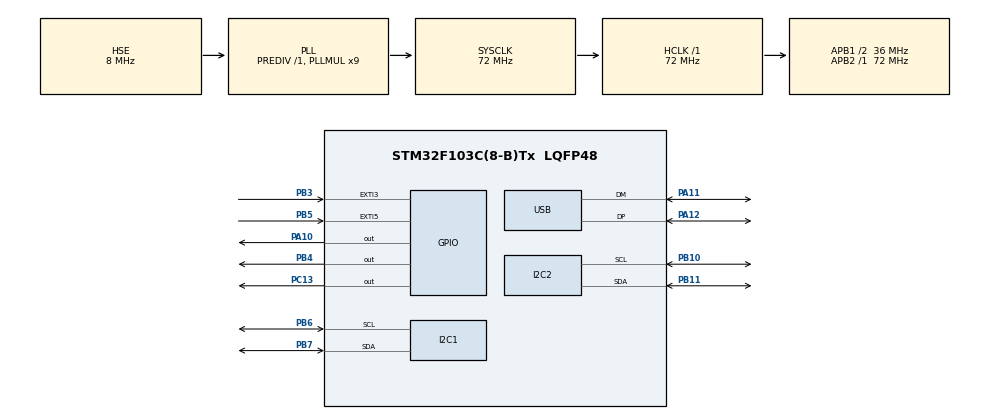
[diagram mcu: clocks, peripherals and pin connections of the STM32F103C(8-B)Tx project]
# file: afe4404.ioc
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I2C1.I2C_Mode=I2C_Fast
I2C2.I2C_Mode=I2C_Fast
Mcu.Family=STM32F1
Mcu.Name=STM32F103C(8-B)Tx
Mcu.Package=LQFP48
NVIC.EXTI3_IRQn=true\:0\:0\:false\:false\:true\:true\:true\:true
NVIC.EXTI9_5_IRQn=true\:0\:0\:false\:false\:true\:true\:true\:true
NVIC.I2C1_ER_IRQn=true\:0\:0\:false\:false\:true\:true\:true\:true
NVIC.I2C1_EV_IRQn=true\:0\:0\:false\:false\:true\:true\:true\:true
NVIC.I2C2_ER_IRQn=true\:0\:0\:false\:false\:true\:true\:true\:true
NVIC.I2C2_EV_IRQn=true\:0\:0\:false\:false\:true\:true\:true\:true
NVIC.PriorityGroup=NVIC_PRIORITYGROUP_4
NVIC.USB_LP_CAN1_RX0_IRQn=true\:0\:0\:false\:false\:true\:false\:true\:true
PA10.Signal=GPIO_Output
PA11.Mode=Device
PA11.Signal=USB_DM
PA12.Mode=Device
PA12.Signal=USB_DP
PA13.Mode=Serial_Wire
PA13.Signal=SYS_JTMS-SWDIO
PA14.Mode=Serial_Wire
PA14.Signal=SYS_JTCK-SWCLK
PB10.Mode=I2C
PB10.Signal=I2C2_SCL
PB11.Mode=I2C
PB11.Signal=I2C2_SDA
PB3.GPIO_PuPd=GPIO_PULLDOWN
PB3.Signal=GPXTI3
PB4.GPIO_PuPd=GPIO_PULLUP
PB4.PinState=GPIO_PIN_SET
PB4.Signal=GPIO_Output
PB5.GPIO_PuPd=GPIO_PULLDOWN
PB5.Signal=GPXTI5
PB6.Mode=I2C
PB6.Signal=I2C1_SCL
PB7.Mode=I2C
PB7.Signal=I2C1_SDA
PC13-TAMPER-RTC.Signal=GPIO_Output
PD0-OSC_IN.Mode=HSE-External-Oscillator
PD0-OSC_IN.Signal=RCC_OSC_IN
PD1-OSC_OUT.Mode=HSE-External-Oscillator
PD1-OSC_OUT.Signal=RCC_OSC_OUT
ProjectManager.HeapSize=0x200
ProjectManager.StackSize=0x400
ProjectManager.TargetToolchain=STM32CubeIDE
RCC.ADCPresc=RCC_ADCPCLK2_DIV6
RCC.AHBFreq_Value=72000000
RCC.APB1CLKDivider=RCC_HCLK_DIV2
RCC.APB1Freq_Value=36000000
RCC.APB1TimFreq_Value=72000000
RCC.APB2Freq_Value=72000000
RCC.APB2TimFreq_Value=72000000
RCC.HCLKFreq_Value=72000000
RCC.PLLMUL=RCC_PLL_MUL9
RCC.SYSCLKFreq_VALUE=72000000
RCC.SYSCLKSource=RCC_SYSCLKSOURCE_PLLCLK
RCC.USBFreq_Value=48000000
RCC.USBPrescaler=RCC_USBCLKSOURCE_PLL_DIV1_5
USB_DEVICE.CLASS_NAME_FS=CDC
USB_DEVICE.VirtualMode=Cdc
USB_DEVICE.VirtualModeFS=Cdc_FS
VP_TIM2_VS_ClockSourceINT.Mode=Internal
VP_USB_DEVICE_VS_USB_DEVICE_CDC_FS.Mode=CDC_FS
board=custom

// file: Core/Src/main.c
/* USER CODE BEGIN Header */
/**
  ******************************************************************************
  * @file           : main.c
  * @brief          : Main program body
  ******************************************************************************
  * @attention
  *
  * Copyright (c) 2023 STMicroelectronics.
  * All rights reserved.
  *
  * This software is licensed under terms that can be found in the LICENSE file
  * in the root directory of this software component.
  * If no LICENSE file comes with this software, it is provided AS-IS.
  *
  ******************************************************************************
  */
/* USER CODE END Header */
#include "main.h"
#include "usb_device.h"

/* USER CODE BEGIN Includes */
#include "usbd_cdc_if.h"
/* USER CODE END Includes */

I2C_HandleTypeDef hi2c1;
I2C_HandleTypeDef hi2c2;

TIM_HandleTypeDef htim2;

/* USER CODE BEGIN PV */
uint8_t SM_Case = ST_IDLE;
BUF_HandleTypeDef FIFO_buf = 0;
uint8_t command = 2;
uint8_t adc1_rdy = 0;
uint8_t adc2_rdy = 0;
I2C_HandleTypeDef cur_i2c;
int setup = SETUP_NOTDONE;

/* USER CODE END PV */

void SystemClock_Config(void);
static void MX_GPIO_Init(void);
static void MX_I2C1_Init(void);
static void MX_TIM2_Init(void);
static void MX_I2C2_Init(void);
/* USER CODE BEGIN PFP */
static void AFE12_RST(void);
static void AFE_Setup(void);
/* USER CODE END PFP */

/* USER CODE BEGIN 0 */

int Command_Check()
{
	int command_count = COMMAND_FIRST_BYTE;
	int command_status = COMMAND_NOTRECEIVED;
	while (! Buffer_IsEmpty(FIFO_buf) && command_status == COMMAND_NOTRECEIVED)
	{
		uint8_t data = Buffer_Read(FIFO_buf);
		switch (command_count)
		{
		case COMMAND_FIRST_BYTE:
			if (data == 0)
			{
				command_count = 1;
			}
			else if(data == 255)
			{
				command_count = 2;
			}
			break;
		case COMMAND_SECOND_BYTE:
			command_status = (data == 7)? COMMAND_RECEIVED: COMMAND_NOTRECEIVED;
			command = COMMAND_START;
			break;
		case COMMAND_SWITCH:
			command_status = (data == 0)? COMMAND_RECEIVED: COMMAND_NOTRECEIVED;
			command = COMMAND_STOP;
			break;
		}
	}
	return command_status;
}

/* USER CODE END 0 */

int main(void)
{
  /* USER CODE BEGIN 1 */
  FIFO_buf = Buffer_Init(128);

  /* USER CODE END 1 */

  /* MCU Configuration--------------------------------------------------------*/

  /* Reset of all peripherals, Initializes the Flash interface and the Systick. */
  HAL_Init();

  /* Configure the system clock */
  SystemClock_Config();

  /* Initialize all configured peripherals */
  MX_GPIO_Init();
  MX_I2C1_Init();
  MX_TIM2_Init();
  MX_USB_DEVICE_Init();
  MX_I2C2_Init();
  /* USER CODE BEGIN 2 */
  adc1_rdy = 0;
  adc2_rdy = 0;
  uint32_t led1 = 0;
  uint32_t led2 = 0;
  uint32_t led3 = 0;
  command = COMMAND_NOTR;
  /* USER CODE END 2 */

  /* Infinite loop */
  /* USER CODE BEGIN WHILE */
  while (1)
  {
		if(Command_Check() == COMMAND_RECEIVED)
		{
			SM_Case = ST_IDLE;
		}
		switch(SM_Case)
		{
			case ST_IDLE:
				if (command == COMMAND_START)
				{
					SM_Case = ST_START;
				}
				if (command == COMMAND_STOP)
				{
					SM_Case = ST_STOP;
				}
				break;
			case ST_START:
				if (setup == SETUP_NOTDONE)
				{
					initStatHRM();
					AFE12_RST();
					cur_i2c = hi2c1;
					AFE_Setup();
					cur_i2c = hi2c2;
					AFE_Setup();
					setup = SETUP_DONE;
				}
				if(adc1_rdy)
				{
					cur_i2c = hi2c1;
//					statHRMAlgo(hr3_get_led1_amb1_val());
					afe4404_Delay_ms(2);
					led2 = hr3_get_led2_val();
					led3 = hr3_get_led3_val();
					led1 = hr3_get_led1_val();
					afe4404_send_results(1, led1, led2, led3);
					adc1_rdy = 0;
				}
				if(adc2_rdy)
				{
					cur_i2c = hi2c2;
//					statHRMAlgo(hr3_get_led1_amb1_val());
					afe4404_Delay_ms(2);
					led2 = hr3_get_led2_val();
					led3 = hr3_get_led3_val();
					led1 = hr3_get_led1_val();
					afe4404_send_results(2, led1, led2, led3);
					adc2_rdy = 0;
				}
				break;
			case ST_STOP:
				AFE12_RST();
				setup = SETUP_NOTDONE;
				break;
		}

    /* USER CODE END WHILE */

  }
}

void SystemClock_Config(void)
{
  RCC_OscInitTypeDef RCC_OscInitStruct = {0};
  RCC_ClkInitTypeDef RCC_ClkInitStruct = {0};
  RCC_PeriphCLKInitTypeDef PeriphClkInit = {0};

  /** Initializes the RCC Oscillators according to the specified parameters
  * in the RCC_OscInitTypeDef structure.
  */
  RCC_OscInitStruct.OscillatorType = RCC_OSCILLATORTYPE_HSE;
  RCC_OscInitStruct.HSEState = RCC_HSE_ON;
  RCC_OscInitStruct.HSEPredivValue = RCC_HSE_PREDIV_DIV1;
  RCC_OscInitStruct.HSIState = RCC_HSI_ON;
  RCC_OscInitStruct.PLL.PLLState = RCC_PLL_ON;
  RCC_OscInitStruct.PLL.PLLSource = RCC_PLLSOURCE_HSE;
  RCC_OscInitStruct.PLL.PLLMUL = RCC_PLL_MUL9;
  if (HAL_RCC_OscConfig(&RCC_OscInitStruct) != HAL_OK)
  {
    Error_Handler();
  }

  /** Initializes the CPU, AHB and APB buses clocks
  */
  RCC_ClkInitStruct.ClockType = RCC_CLOCKTYPE_HCLK|RCC_CLOCKTYPE_SYSCLK
                              |RCC_CLOCKTYPE_PCLK1|RCC_CLOCKTYPE_PCLK2;
  RCC_ClkInitStruct.SYSCLKSource = RCC_SYSCLKSOURCE_PLLCLK;
  RCC_ClkInitStruct.AHBCLKDivider = RCC_SYSCLK_DIV1;
  RCC_ClkInitStruct.APB1CLKDivider = RCC_HCLK_DIV2;
  RCC_ClkInitStruct.APB2CLKDivider = RCC_HCLK_DIV1;

  if (HAL_RCC_ClockConfig(&RCC_ClkInitStruct, FLASH_LATENCY_2) != HAL_OK)
  {
    Error_Handler();
  }
  PeriphClkInit.PeriphClockSelection = RCC_PERIPHCLK_USB;
  PeriphClkInit.UsbClockSelection = RCC_USBCLKSOURCE_PLL_DIV1_5;
  if (HAL_RCCEx_PeriphCLKConfig(&PeriphClkInit) != HAL_OK)
  {
    Error_Handler();
  }
}

static void MX_I2C1_Init(void)
{

  hi2c1.Instance = I2C1;
  hi2c1.Init.ClockSpeed = 400000;
  hi2c1.Init.DutyCycle = I2C_DUTYCYCLE_2;
  hi2c1.Init.OwnAddress1 = 0;
  hi2c1.Init.AddressingMode = I2C_ADDRESSINGMODE_7BIT;
  hi2c1.Init.DualAddressMode = I2C_DUALADDRESS_DISABLE;
  hi2c1.Init.OwnAddress2 = 0;
  hi2c1.Init.GeneralCallMode = I2C_GENERALCALL_DISABLE;
  hi2c1.Init.NoStretchMode = I2C_NOSTRETCH_DISABLE;
  if (HAL_I2C_Init(&hi2c1) != HAL_OK)
  {
    Error_Handler();
  }

}

static void MX_I2C2_Init(void)
{

  hi2c2.Instance = I2C2;
  hi2c2.Init.ClockSpeed = 400000;
  hi2c2.Init.DutyCycle = I2C_DUTYCYCLE_2;
  hi2c2.Init.OwnAddress1 = 0;
  hi2c2.Init.AddressingMode = I2C_ADDRESSINGMODE_7BIT;
  hi2c2.Init.DualAddressMode = I2C_DUALADDRESS_DISABLE;
  hi2c2.Init.OwnAddress2 = 0;
  hi2c2.Init.GeneralCallMode = I2C_GENERALCALL_DISABLE;
  hi2c2.Init.NoStretchMode = I2C_NOSTRETCH_DISABLE;
  if (HAL_I2C_Init(&hi2c2) != HAL_OK)
  {
    Error_Handler();
  }

}

static void MX_TIM2_Init(void)
{

  TIM_ClockConfigTypeDef sClockSourceConfig = {0};
  TIM_MasterConfigTypeDef sMasterConfig = {0};

  htim2.Instance = TIM2;
  htim2.Init.Prescaler = 0;
  htim2.Init.CounterMode = TIM_COUNTERMODE_UP;
  htim2.Init.Period = 65535;
  htim2.Init.ClockDivision = TIM_CLOCKDIVISION_DIV1;
  htim2.Init.AutoReloadPreload = TIM_AUTORELOAD_PRELOAD_DISABLE;
  if (HAL_TIM_Base_Init(&htim2) != HAL_OK)
  {
    Error_Handler();
  }
  sClockSourceConfig.ClockSource = TIM_CLOCKSOURCE_INTERNAL;
  if (HAL_TIM_ConfigClockSource(&htim2, &sClockSourceConfig) != HAL_OK)
  {
    Error_Handler();
  }
  sMasterConfig.MasterOutputTrigger = TIM_TRGO_RESET;
  sMasterConfig.MasterSlaveMode = TIM_MASTERSLAVEMODE_DISABLE;
  if (HAL_TIMEx_MasterConfigSynchronization(&htim2, &sMasterConfig) != HAL_OK)
  {
    Error_Handler();
  }

}

static void MX_GPIO_Init(void)
{
  GPIO_InitTypeDef GPIO_InitStruct = {0};

  /* GPIO Ports Clock Enable */
  __HAL_RCC_GPIOC_CLK_ENABLE();
  __HAL_RCC_GPIOD_CLK_ENABLE();
  __HAL_RCC_GPIOB_CLK_ENABLE();
  __HAL_RCC_GPIOA_CLK_ENABLE();

  /*Configure GPIO pin Output Level */
  HAL_GPIO_WritePin(GPIOC, GPIO_PIN_13, GPIO_PIN_RESET);

  /*Configure GPIO pin Output Level */
  HAL_GPIO_WritePin(GPIOA, GPIO_PIN_10, GPIO_PIN_RESET);

  /*Configure GPIO pin Output Level */
  HAL_GPIO_WritePin(GPIOB, GPIO_PIN_4, GPIO_PIN_SET);

  /*Configure GPIO pin : PC13 */
  GPIO_InitStruct.Pin = GPIO_PIN_13;
  GPIO_InitStruct.Mode = GPIO_MODE_OUTPUT_PP;
  GPIO_InitStruct.Pull = GPIO_NOPULL;
  GPIO_InitStruct.Speed = GPIO_SPEED_FREQ_LOW;
  HAL_GPIO_Init(GPIOC, &GPIO_InitStruct);

  /*Configure GPIO pin : PA10 */
  GPIO_InitStruct.Pin = GPIO_PIN_10;
  GPIO_InitStruct.Mode = GPIO_MODE_OUTPUT_PP;
  GPIO_InitStruct.Pull = GPIO_NOPULL;
  GPIO_InitStruct.Speed = GPIO_SPEED_FREQ_LOW;
  HAL_GPIO_Init(GPIOA, &GPIO_InitStruct);

  /*Configure GPIO pins : PB3 PB5 */
  GPIO_InitStruct.Pin = GPIO_PIN_3|GPIO_PIN_5;
  GPIO_InitStruct.Mode = GPIO_MODE_IT_RISING;
  GPIO_InitStruct.Pull = GPIO_PULLDOWN;
  HAL_GPIO_Init(GPIOB, &GPIO_InitStruct);

  /*Configure GPIO pin : PB4 */
  GPIO_InitStruct.Pin = GPIO_PIN_4;
  GPIO_InitStruct.Mode = GPIO_MODE_OUTPUT_PP;
  GPIO_InitStruct.Pull = GPIO_PULLUP;
  GPIO_InitStruct.Speed = GPIO_SPEED_FREQ_LOW;
  HAL_GPIO_Init(GPIOB, &GPIO_InitStruct);

  /* EXTI interrupt init*/
  HAL_NVIC_SetPriority(EXTI3_IRQn, 0, 0);
  HAL_NVIC_EnableIRQ(EXTI3_IRQn);

  HAL_NVIC_SetPriority(EXTI9_5_IRQn, 0, 0);
  HAL_NVIC_EnableIRQ(EXTI9_5_IRQn);

}

/* USER CODE BEGIN 4 */
static void AFE12_RST(void)
{
	afe4404_RstReset();
	afe4404_Delay_ms(0.05);
	afe4404_RstSet();
	afe4404_Delay_ms(2);
}

static void AFE_Setup(void)
{
	dynamic_modes_t dynamic_modes;

	dynamic_modes.transmit = trans_dis;
	dynamic_modes.curr_range = led_double;
	dynamic_modes.adc_power = adc_on;
	dynamic_modes.clk_mode = osc_mode;
	dynamic_modes.tia_power = tia_off;
	dynamic_modes.rest_of_adc = rest_of_adc_off;
	dynamic_modes.afe_rx_mode = afe_rx_normal;
	dynamic_modes.afe_mode = afe_normal;

	hr3_init(afe4404_address, &dynamic_modes);
	afe4404_Delay_ms(201);
}

/* USER CODE END 4 */

void Error_Handler(void)
{
  __disable_irq();
  while (1)
  {
  }
}
